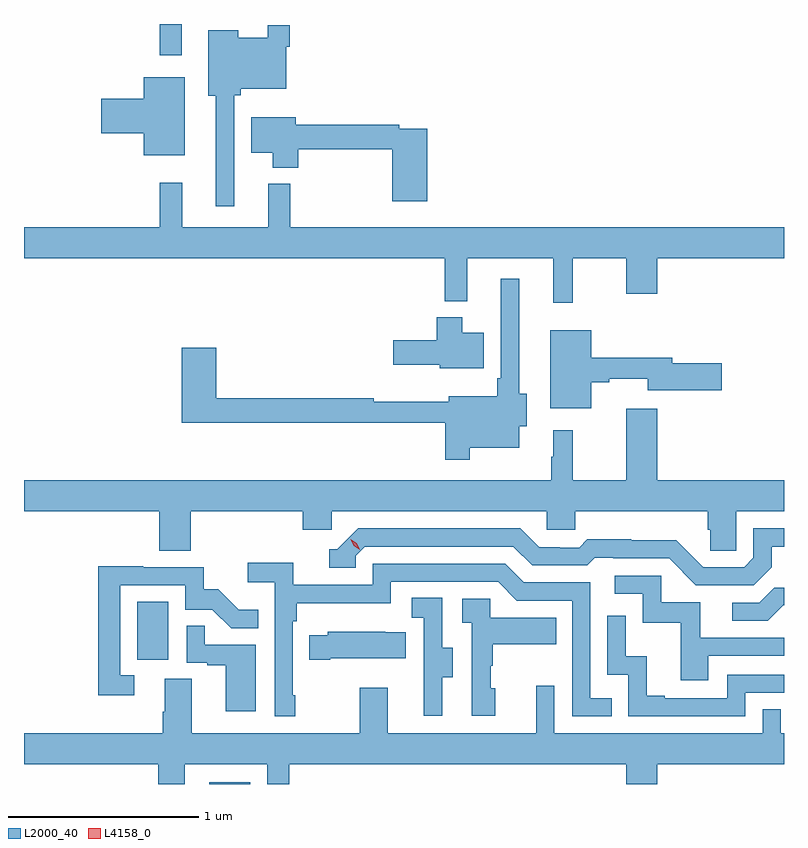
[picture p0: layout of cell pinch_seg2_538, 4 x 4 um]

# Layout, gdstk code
import gdstk
lib = gdstk.Library(unit=1e-6, precision=1e-09)
def R(c, l, rs):  # rectangles x0, y0, x1, y1
    for r in rs: c.add(gdstk.rectangle(r[:2], r[2:], *l))
def P(c, l, *ps):  # polygons
    for p in ps: c.add(gdstk.Polygon(p, *l))
L2000_40 = (2000, 40)
L4158_0 = (4158, 0)

pinch_seg2_538 = lib.new_cell('pinch_seg2_538')
R(pinch_seg2_538, L2000_40, [(1097.877,616.897,1098.094,616.906), (1097.498,617.55,1097.662,617.857), (1097.617,620.733,1097.734,620.897)])
P(pinch_seg2_538, L2000_40, [(1098.009,620.523),(1098.044,620.523),(1098.044,620.555),(1098.282,620.555),(1098.282,620.777),(1098.302,620.777),(1098.302,620.89),(1098.185,620.89),(1098.185,620.824),(1098.031,620.824),(1098.031,620.863),(1097.873,620.863),(1097.873,620.519),(1097.912,620.519),(1097.912,619.938),(1098.009,619.938)],
  [(1097.749,620.617),(1097.534,620.617),(1097.534,620.504),(1097.31,620.504),(1097.31,620.321),(1097.534,620.321),(1097.534,620.207),(1097.749,620.207)],
  [(1099.025,620.346),(1098.878,620.346),(1098.878,620.366),(1098.334,620.366),(1098.334,620.407),(1098.098,620.407),(1098.098,620.219),(1098.212,620.219),(1098.212,620.141),(1098.347,620.141),(1098.347,620.238),(1098.842,620.238),(1098.842,619.965),(1099.025,619.965)],
  [(1099.79,619.664),(1100.072,619.664),(1100.072,619.476),(1100.236,619.476),(1100.236,619.664),(1100.903,619.664),(1100.903,619.828),(1098.305,619.828),(1098.305,620.056),(1098.188,620.056),(1098.188,619.828),(1097.735,619.828),(1097.735,620.062),(1097.617,620.062),(1097.617,619.828),(1096.903,619.828),(1096.903,619.664),(1099.117,619.664),(1099.117,619.439),(1099.235,619.439),(1099.235,619.664),(1099.688,619.664),(1099.688,619.431),(1099.79,619.431)],
  [(1099.249,618.668),(1099.51,618.668),(1099.51,618.779),(1099.549,618.779),(1099.549,618.95),(1099.51,618.95),(1099.51,619.555),(1099.413,619.555),(1099.413,619.033),(1099.393,619.033),(1099.393,618.937),(1099.139,618.937),(1099.139,618.908),(1098.743,618.908),(1098.743,618.926),(1097.915,618.926),(1097.915,619.192),(1097.732,619.192),(1097.732,618.798),(1099.12,618.798),(1099.12,618.603),(1099.249,618.603)],
  [(1099.324,619.273),(1099.21,619.273),(1099.21,619.354),(1099.076,619.354),(1099.076,619.233),(1098.846,619.233),(1098.846,619.103),(1099.092,619.103),(1099.092,619.085),(1099.324,619.085)],
  [(1099.888,619.012),(1099.984,619.012),(1099.984,619.031),(1100.186,619.031),(1100.186,618.97),(1100.575,618.97),(1100.575,619.112),(1100.314,619.112),(1100.314,619.141),(1099.888,619.141),(1099.888,619.285),(1099.673,619.285),(1099.673,618.875),(1099.888,618.875)],
  [(1100.072,618.871),(1100.072,618.496),(1099.79,618.496),(1099.79,618.76),(1099.688,618.76),(1099.688,618.62),(1099.677,618.62),(1099.677,618.496),(1096.903,618.496),(1096.903,618.332),(1097.615,618.332),(1097.615,618.124),(1097.78,618.124),(1097.78,618.332),(1098.371,618.332),(1098.371,618.234),(1098.522,618.234),(1098.522,618.332),(1099.653,618.332),(1099.653,618.234),(1099.803,618.234),(1099.803,618.332),(1100.501,618.332),(1100.501,618.234),(1100.515,618.234),(1100.515,618.124),(1100.652,618.124),(1100.652,618.332),(1100.903,618.332),(1100.903,618.496),(1100.236,618.496),(1100.236,618.871)],
  [(1100.839,618.037),(1100.839,618.147),(1100.903,618.147),(1100.903,618.243),(1100.742,618.243),(1100.742,618.087),(1100.694,618.039),(1100.478,618.039),(1100.336,618.181),(1100.1,618.181),(1100.1,618.184),(1099.867,618.184),(1099.825,618.141),(1099.722,618.141),(1099.722,618.144),(1099.615,618.144),(1099.516,618.243),(1098.663,618.243),(1098.552,618.132),(1098.509,618.132),(1098.509,618.036),(1098.648,618.036),(1098.648,618.099),(1098.696,618.147),(1099.479,618.147),(1099.578,618.048),(1099.867,618.048),(1099.906,618.087),(1100.005,618.087),(1100.005,618.084),(1100.298,618.084),(1100.439,617.943),(1100.745,617.943)],
  [(1098.331,617.365),(1098.318,617.365),(1098.318,617.753),(1098.338,617.753),(1098.338,617.849),(1098.834,617.849),(1098.834,617.961),(1099.398,617.961),(1099.497,617.862),(1099.788,617.862),(1099.788,617.253),(1099.997,617.253),(1099.997,617.349),(1099.884,617.349),(1099.884,617.958),(1099.534,617.958),(1099.435,618.057),(1098.738,618.057),(1098.738,617.946),(1098.32,617.946),(1098.32,618.062),(1098.081,618.062),(1098.081,617.96),(1098.222,617.96),(1098.222,617.253),(1098.331,617.253)],
  [(1097.482,617.469),(1097.409,617.469),(1097.409,617.943),(1097.751,617.943),(1097.751,617.814),(1097.895,617.814),(1097.993,617.716),(1098.137,617.716),(1098.137,617.815),(1098.033,617.815),(1097.926,617.922),(1097.85,617.922),(1097.85,618.039),(1097.531,618.039),(1097.531,618.044),(1097.293,618.044),(1097.293,617.364),(1097.482,617.364)],
  [(1100.503,617.571),(1100.903,617.571),(1100.903,617.667),(1100.461,617.667),(1100.461,617.853),(1100.256,617.853),(1100.256,617.994),(1100.013,617.994),(1100.013,617.898),(1100.16,617.898),(1100.16,617.745),(1100.359,617.745),(1100.359,617.442),(1100.503,617.442)],
  [(1100.899,617.838),(1100.903,617.838),(1100.903,617.93),(1100.852,617.93),(1100.772,617.85),(1100.631,617.85),(1100.631,617.757),(1100.818,617.757)],
  [(1099.105,617.458),(1099.159,617.458),(1099.159,617.613),(1099.104,617.613),(1099.104,617.876),(1098.945,617.876),(1098.945,617.773),(1099.008,617.773),(1099.008,617.469),(1099.007,617.469),(1099.007,617.256),(1099.105,617.256)],
  [(1099.384,617.4),(1099.359,617.4),(1099.359,617.519),(1099.369,617.519),(1099.369,617.633),(1099.703,617.633),(1099.703,617.773),(1099.356,617.773),(1099.356,617.871),(1099.209,617.871),(1099.209,617.747),(1099.26,617.747),(1099.26,617.256),(1099.384,617.256)],
  [(1100.7,617.376),(1100.903,617.376),(1100.903,617.472),(1100.604,617.472),(1100.604,617.349),(1100.275,617.349),(1100.275,617.362),(1100.18,617.362),(1100.18,617.57),(1100.07,617.57),(1100.07,617.782),(1099.974,617.782),(1099.974,617.472),(1100.082,617.472),(1100.082,617.253),(1100.7,617.253)],
  [(1098.124,617.631),(1097.855,617.631),(1097.855,617.729),(1097.76,617.729),(1097.76,617.535),(1097.867,617.535),(1097.867,617.523),(1097.966,617.523),(1097.966,617.28),(1098.124,617.28)],
  [(1098.514,617.558),(1098.911,617.558),(1098.911,617.695),(1098.803,617.695),(1098.803,617.698),(1098.501,617.698),(1098.501,617.68),(1098.403,617.68),(1098.403,617.551),(1098.514,617.551)],
  [(1097.749,617),(1098.183,617),(1098.183,616.897),(1098.299,616.897),(1098.299,617),(1100.072,617),(1100.072,616.897),(1100.236,616.897),(1100.236,617),(1100.903,617),(1100.903,617.164),(1100.886,617.164),(1100.886,617.291),(1100.79,617.291),(1100.79,617.164),(1099.695,617.164),(1099.695,617.413),(1099.598,617.413),(1099.598,617.164),(1098.817,617.164),(1098.817,617.404),(1098.67,617.404),(1098.67,617.164),(1097.785,617.164),(1097.785,617.45),(1097.645,617.45),(1097.645,617.276),(1097.633,617.276),(1097.633,617.164),(1096.903,617.164),(1096.903,617),(1097.609,617),(1097.609,616.897),(1097.749,616.897)])
P(pinch_seg2_538, L4158_0, [(1098.67,618.131),(1098.639,618.151),(1098.624,618.184),(1098.624,618.184),(1098.624,618.184),(1098.654,618.164),(1098.67,618.131),(1098.67,618.131)])

lib.write_gds('pinch_seg2_538.gds')
